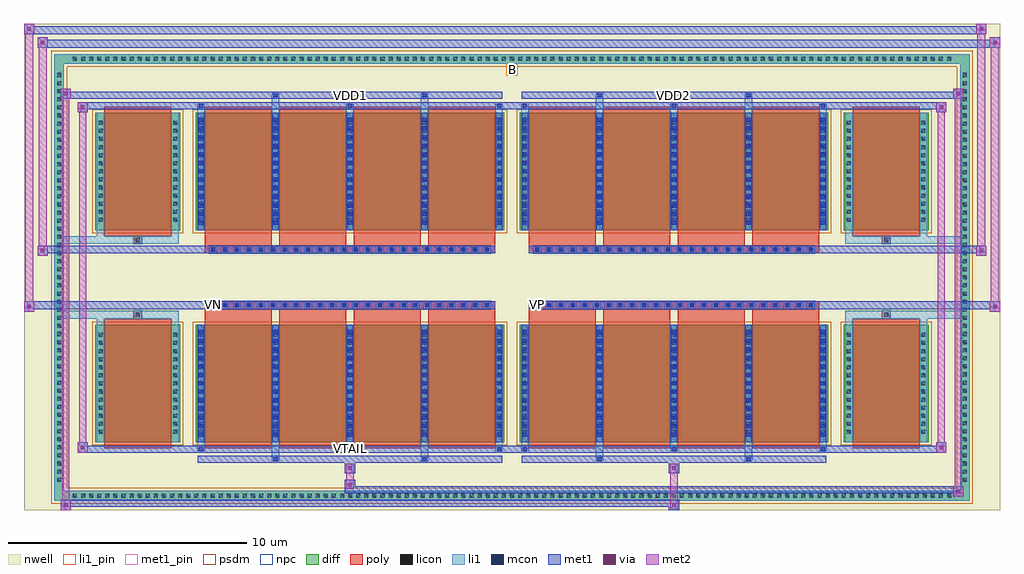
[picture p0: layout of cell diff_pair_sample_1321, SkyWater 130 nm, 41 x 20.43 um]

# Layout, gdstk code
import gdstk
lib = gdstk.Library(unit=1e-6, precision=5e-09)
def R(c, l, rs):  # rectangles x0, y0, x1, y1
    for r in rs: c.add(gdstk.rectangle(r[:2], r[2:], *l))
def A(c, l, x, y, w, h, nx, ny, dx, dy):  # array of equal rectangles
    R(c, l, [(x+i*dx, y+j*dy, x+i*dx+w, y+j*dy+h) for i in range(nx) for j in range(ny)])
def P(c, l, *ps):  # polygons
    for p in ps: c.add(gdstk.Polygon(p, *l))
nwell = (64, 20)
diff = (65, 20)
poly = (66, 20)
licon = (66, 44)
li1_pin = (67, 16)
li1 = (67, 20)
mcon = (67, 44)
met1_pin = (68, 16)
met1 = (68, 20)
via = (68, 44)
met2 = (69, 20)
psdm = (94, 20)
npc = (95, 20)

diff_pair_sample_1321 = lib.new_cell('diff_pair_sample_1321')
R(diff_pair_sample_1321, nwell, [(-20.5,-9.78,20.5,10.65), (-17.82,-7.97,-0.01,-0.805), (0.01,-7.97,17.82,-0.805), (-17.82,0.805,-0.01,7.97), (0.01,0.805,17.82,7.97)])
A(diff_pair_sample_1321, diff, -18.565, -9.38, 0.41, 0.41, 109, 2, 0.34, 18.35)
A(diff_pair_sample_1321, diff, -19.23, -8.705, 0.41, 0.41, 1, 51, 0, 0.34)
A(diff_pair_sample_1321, diff, 18.82, -8.705, 0.41, 0.41, 1, 51, 0, 0.34)
R(diff_pair_sample_1321, diff, [(-18.565,-9.38,18.565,-8.97), (-19.23,-8.705,-18.82,8.705), (18.82,-8.705,19.23,8.705), (-17.51,-6.925,-13.93,-1.985), (-13.29,-6.925,-0.32,-1.985), (0.32,-6.925,13.29,-1.985), (13.93,-6.925,17.51,-1.985), (-17.51,1.985,-13.93,6.925), (-13.29,1.985,-0.32,6.925), (0.32,1.985,13.29,6.925), (13.93,1.985,17.51,6.925), (-18.565,8.97,18.565,9.38)])
P(diff_pair_sample_1321, diff, [(19.23,9.38),(-19.23,9.38),(-19.23,-8.97),(-18.82,-8.97),(-18.82,8.97),(18.82,8.97),(18.82,-8.97),(-18.82,-8.97),(-19.23,-8.97),(-19.23,-9.38),(19.23,-9.38)])
A(diff_pair_sample_1321, poly, -12.9, -7.175, 2.8, 5.44, 4, 2, 3.13, 8.91)
A(diff_pair_sample_1321, poly, 0.71, -7.175, 2.8, 5.44, 4, 2, 3.13, 8.91)
A(diff_pair_sample_1321, poly, -12.9, -1.735, 2.8, 0.4, 4, 2, 3.13, 3.07)
A(diff_pair_sample_1321, poly, 0.71, -1.735, 2.8, 0.4, 4, 2, 3.13, 3.07)
A(diff_pair_sample_1321, poly, -12.72, -1.335, 0.33, 0.33, 24, 2, 0.5, 2.34)
A(diff_pair_sample_1321, poly, 0.89, -1.335, 0.33, 0.33, 24, 2, 0.5, 2.34)
R(diff_pair_sample_1321, poly, [(-17.12,-7.175,-14.32,-1.735), (14.32,-7.175,17.12,-1.735), (-15.885,-1.735,-15.555,-1.405), (-15.885,-1.735,-15.555,-1.405), (15.555,-1.735,15.885,-1.405), (15.555,-1.735,15.885,-1.405), (-12.9,-1.335,-0.71,-1.005), (0.71,-1.335,12.9,-1.005), (-12.9,1.005,-0.71,1.335), (0.71,1.005,12.9,1.335), (-15.885,1.405,-15.555,1.735), (-15.885,1.405,-15.555,1.735), (15.555,1.405,15.885,1.735), (15.555,1.405,15.885,1.735), (-17.12,1.735,-14.32,7.175), (14.32,1.735,17.12,7.175)])
A(diff_pair_sample_1321, licon, -18.445, -9.26, 0.17, 0.17, 109, 2, 0.34, 18.35)
A(diff_pair_sample_1321, licon, -19.11, -8.585, 0.17, 0.17, 1, 51, 0, 0.34)
A(diff_pair_sample_1321, licon, 18.94, -8.585, 0.17, 0.17, 1, 51, 0, 0.34)
A(diff_pair_sample_1321, licon, -17.37, -6.58, 0.17, 0.17, 1, 13, 0, 0.34)
A(diff_pair_sample_1321, licon, -14.24, -6.58, 0.17, 0.17, 1, 13, 0, 0.34)
A(diff_pair_sample_1321, licon, -13.15, -6.58, 0.17, 0.17, 5, 13, 3.13, 0.34)
A(diff_pair_sample_1321, licon, 0.46, -6.58, 0.17, 0.17, 5, 13, 3.13, 0.34)
A(diff_pair_sample_1321, licon, 14.07, -6.58, 0.17, 0.17, 1, 13, 0, 0.34)
A(diff_pair_sample_1321, licon, 17.2, -6.58, 0.17, 0.17, 1, 13, 0, 0.34)
A(diff_pair_sample_1321, licon, -12.64, -1.255, 0.17, 0.17, 24, 2, 0.5, 2.34)
A(diff_pair_sample_1321, licon, 0.97, -1.255, 0.17, 0.17, 24, 2, 0.5, 2.34)
A(diff_pair_sample_1321, licon, -17.37, 2.33, 0.17, 0.17, 1, 13, 0, 0.34)
A(diff_pair_sample_1321, licon, -14.24, 2.33, 0.17, 0.17, 1, 13, 0, 0.34)
A(diff_pair_sample_1321, licon, -13.15, 2.33, 0.17, 0.17, 5, 13, 3.13, 0.34)
A(diff_pair_sample_1321, licon, 0.46, 2.33, 0.17, 0.17, 5, 13, 3.13, 0.34)
A(diff_pair_sample_1321, licon, 14.07, 2.33, 0.17, 0.17, 1, 13, 0, 0.34)
A(diff_pair_sample_1321, licon, 17.2, 2.33, 0.17, 0.17, 1, 13, 0, 0.34)
R(diff_pair_sample_1321, licon, [(-15.805,-1.655,-15.635,-1.485), (15.635,-1.655,15.805,-1.485), (-15.805,1.485,-15.635,1.655), (15.635,1.485,15.805,1.655)])
R(diff_pair_sample_1321, li1_pin, [(-0.25,8.47,0.25,8.97)])
A(diff_pair_sample_1321, li1, -18.525, -9.34, 0.33, 0.33, 109, 2, 0.34, 18.35)
A(diff_pair_sample_1321, li1, -19.19, -8.665, 0.33, 0.33, 1, 51, 0, 0.34)
A(diff_pair_sample_1321, li1, 18.86, -8.665, 0.33, 0.33, 1, 51, 0, 0.34)
A(diff_pair_sample_1321, li1, -13.23, -7.3, 0.33, 0.375, 3, 2, 6.26, 14.225)
A(diff_pair_sample_1321, li1, -13.15, -7.3, 0.17, 0.17, 3, 2, 6.26, 14.43)
A(diff_pair_sample_1321, li1, 0.38, -7.3, 0.33, 0.375, 3, 2, 6.26, 14.225)
A(diff_pair_sample_1321, li1, 0.46, -7.3, 0.17, 0.17, 3, 2, 6.26, 14.43)
A(diff_pair_sample_1321, li1, -13.23, -6.925, 0.33, 4.94, 5, 2, 3.13, 8.91)
A(diff_pair_sample_1321, li1, 0.38, -6.925, 0.33, 4.94, 5, 2, 3.13, 8.91)
A(diff_pair_sample_1321, li1, -13.15, -6.7, 0.17, 0.17, 5, 13, 3.13, 0.36)
A(diff_pair_sample_1321, li1, -13.15, -6.7, 0.17, 4.49, 5, 2, 3.13, 8.91)
A(diff_pair_sample_1321, li1, 0.46, -6.7, 0.17, 0.17, 5, 13, 3.13, 0.36)
A(diff_pair_sample_1321, li1, 0.46, -6.7, 0.17, 4.49, 5, 2, 3.13, 8.91)
A(diff_pair_sample_1321, li1, -17.45, -6.66, 0.33, 0.33, 1, 13, 0, 0.34)
A(diff_pair_sample_1321, li1, -14.32, -6.66, 0.33, 0.33, 1, 13, 0, 0.34)
A(diff_pair_sample_1321, li1, -13.23, -6.66, 0.33, 0.33, 5, 13, 3.13, 0.34)
A(diff_pair_sample_1321, li1, 0.38, -6.66, 0.33, 0.33, 5, 13, 3.13, 0.34)
A(diff_pair_sample_1321, li1, 13.99, -6.66, 0.33, 0.33, 1, 13, 0, 0.34)
A(diff_pair_sample_1321, li1, 17.12, -6.66, 0.33, 0.33, 1, 13, 0, 0.34)
A(diff_pair_sample_1321, li1, -12.72, -1.335, 0.33, 0.33, 24, 2, 0.5, 2.34)
A(diff_pair_sample_1321, li1, 0.89, -1.335, 0.33, 0.33, 24, 2, 0.5, 2.34)
A(diff_pair_sample_1321, li1, -13.15, 2.21, 0.17, 0.17, 5, 13, 3.13, 0.36)
A(diff_pair_sample_1321, li1, 0.46, 2.21, 0.17, 0.17, 5, 13, 3.13, 0.36)
A(diff_pair_sample_1321, li1, -17.45, 2.25, 0.33, 0.33, 1, 13, 0, 0.34)
A(diff_pair_sample_1321, li1, -14.32, 2.25, 0.33, 0.33, 1, 13, 0, 0.34)
A(diff_pair_sample_1321, li1, -13.23, 2.25, 0.33, 0.33, 5, 13, 3.13, 0.34)
A(diff_pair_sample_1321, li1, 0.38, 2.25, 0.33, 0.33, 5, 13, 3.13, 0.34)
A(diff_pair_sample_1321, li1, 13.99, 2.25, 0.33, 0.33, 1, 13, 0, 0.34)
A(diff_pair_sample_1321, li1, 17.12, 2.25, 0.33, 0.33, 1, 13, 0, 0.34)
R(diff_pair_sample_1321, li1, [(-19.23,-9.38,-18.82,-8.97), (-19.23,-9.38,-18.82,-8.97), (-18.82,-9.38,18.82,-8.97), (18.82,-9.38,19.23,-8.97), (18.82,-9.38,19.23,-8.97), (-19.23,-8.97,-18.82,8.97), (18.82,-8.97,19.23,8.97), (-10.1,-7.73,-9.77,-6.925), (-10.02,-7.73,-9.85,-7.56), (-3.84,-7.73,-3.51,-6.925), (-3.76,-7.73,-3.59,-7.56), (3.51,-7.73,3.84,-6.925), (3.59,-7.73,3.76,-7.56), (9.77,-7.73,10.1,-6.925), (9.85,-7.73,10.02,-7.56), (-17.45,-6.925,-17.12,-1.985), (-14.32,-6.925,-13.99,-1.985), (13.99,-6.925,14.32,-1.985), (17.12,-6.925,17.45,-1.985), (-17.45,-1.985,-17.12,-1.405), (-14.32,-1.985,-13.99,-1.405), (13.99,-1.985,14.32,-1.405), (17.12,-1.985,17.45,-1.405), (-19.23,-1.735,-15.885,-1.405), (-17.45,-1.735,-15.885,-1.405), (-15.885,-1.735,-15.555,-1.405), (-15.555,-1.735,-13.99,-1.405), (13.99,-1.735,15.555,-1.405), (15.555,-1.735,15.885,-1.405), (15.555,-1.735,19.23,-1.405), (15.885,-1.735,17.45,-1.405), (-19.23,1.405,-15.885,1.735), (-17.45,1.405,-15.885,1.735), (-17.45,1.405,-17.12,1.985), (-15.885,1.405,-15.555,1.735), (-15.555,1.405,-13.99,1.735), (-14.32,1.405,-13.99,1.985), (13.99,1.405,15.555,1.735), (13.99,1.405,14.32,1.985), (15.555,1.405,15.885,1.735), (15.555,1.405,19.23,1.735), (15.885,1.405,17.45,1.735), (17.12,1.405,17.45,1.985), (-17.45,1.985,-17.12,6.925), (-14.32,1.985,-13.99,6.925), (13.99,1.985,14.32,6.925), (17.12,1.985,17.45,6.925), (-10.1,6.925,-9.77,7.73), (-3.84,6.925,-3.51,7.73), (3.51,6.925,3.84,7.73), (9.77,6.925,10.1,7.73), (-10.02,7.56,-9.85,7.73), (-3.76,7.56,-3.59,7.73), (3.59,7.56,3.76,7.73), (9.85,7.56,10.02,7.73), (-19.23,8.97,-18.82,9.38), (-19.23,8.97,-18.82,9.38), (-18.82,8.97,18.82,9.38), (18.82,8.97,19.23,9.38), (18.82,8.97,19.23,9.38)])
A(diff_pair_sample_1321, mcon, -13.15, -7.3, 0.17, 0.17, 3, 2, 6.26, 14.43)
A(diff_pair_sample_1321, mcon, 0.46, -7.3, 0.17, 0.17, 3, 2, 6.26, 14.43)
A(diff_pair_sample_1321, mcon, -13.15, -6.7, 0.17, 0.17, 5, 13, 3.13, 0.36)
A(diff_pair_sample_1321, mcon, 0.46, -6.7, 0.17, 0.17, 5, 13, 3.13, 0.36)
A(diff_pair_sample_1321, mcon, -12.64, -1.255, 0.17, 0.17, 24, 2, 0.5, 2.34)
A(diff_pair_sample_1321, mcon, 0.97, -1.255, 0.17, 0.17, 24, 2, 0.5, 2.34)
A(diff_pair_sample_1321, mcon, -13.15, 2.21, 0.17, 0.17, 5, 13, 3.13, 0.36)
A(diff_pair_sample_1321, mcon, 0.46, 2.21, 0.17, 0.17, 5, 13, 3.13, 0.36)
R(diff_pair_sample_1321, mcon, [(-10.02,-7.73,-9.85,-7.56), (-3.76,-7.73,-3.59,-7.56), (3.59,-7.73,3.76,-7.56), (9.85,-7.73,10.02,-7.56), (-10.02,7.56,-9.85,7.73), (-3.76,7.56,-3.59,7.73), (3.59,7.56,3.76,7.73), (9.85,7.56,10.02,7.73)])
R(diff_pair_sample_1321, met1_pin, [(-6.94,-7.34,-6.67,-7.07), (-12.69,-1.295,-12.42,-1.025), (0.92,-1.295,1.19,-1.025), (-6.94,7.52,-6.67,7.79), (6.67,7.52,6.94,7.79)])
A(diff_pair_sample_1321, met1, -13.21, -7.36, 0.29, 0.29, 3, 2, 6.26, 14.43)
A(diff_pair_sample_1321, met1, 0.4, -7.36, 0.29, 0.29, 3, 2, 6.26, 14.43)
A(diff_pair_sample_1321, met1, -13.21, -6.925, 0.29, 4.94, 5, 2, 3.13, 8.91)
A(diff_pair_sample_1321, met1, 0.4, -6.925, 0.29, 4.94, 5, 2, 3.13, 8.91)
A(diff_pair_sample_1321, met1, -13.21, -6.76, 0.29, 0.29, 5, 13, 3.13, 0.36)
A(diff_pair_sample_1321, met1, 0.4, -6.76, 0.29, 0.29, 5, 13, 3.13, 0.36)
A(diff_pair_sample_1321, met1, -12.7, -1.315, 0.29, 0.29, 24, 2, 0.5, 2.34)
A(diff_pair_sample_1321, met1, 0.91, -1.315, 0.29, 0.29, 24, 2, 0.5, 2.34)
A(diff_pair_sample_1321, met1, -13.21, 2.15, 0.29, 0.29, 5, 13, 3.13, 0.36)
A(diff_pair_sample_1321, met1, 0.4, 2.15, 0.29, 0.29, 5, 13, 3.13, 0.36)
R(diff_pair_sample_1321, met1, [(-18.96,-9.78,-18.53,-9.35), (6.59,-9.78,7.02,-9.35), (-18.96,-9.64,7.02,-9.35), (18.53,-9.21,18.96,-8.78), (-7.02,-9.07,18.96,-8.78), (-7.02,-8.93,-6.59,-8.5), (-7.02,-8.22,-6.59,-7.79), (6.59,-8.22,7.02,-7.79), (-13.21,-7.79,-0.4,-7.5), (-10.08,-7.79,-9.79,-7.5), (-3.82,-7.79,-3.53,-7.5), (0.4,-7.79,13.21,-7.5), (3.53,-7.79,3.82,-7.5), (9.79,-7.79,10.08,-7.5), (-18.25,-7.36,-17.82,-6.93), (-18.25,-7.36,-13.21,-7.07), (-13.21,-7.36,-0.4,-7.07), (-0.4,-7.36,0.4,-7.07), (0.4,-7.36,13.21,-7.07), (13.21,-7.36,18.25,-7.07), (17.82,-7.36,18.25,-6.93), (-20.5,-1.435,-20.07,-1.005), (20.07,-1.435,20.5,-1.005), (-20.5,-1.335,-0.71,-1.005), (-12.9,-1.335,-0.71,-1.005), (0.71,-1.335,12.9,-1.005), (0.71,-1.335,20.5,-1.005), (-19.93,0.905,-19.5,1.335), (19.5,0.905,19.93,1.335), (-19.93,1.005,-12.9,1.335), (-12.9,1.005,-0.71,1.335), (0.71,1.005,12.9,1.335), (12.9,1.005,19.93,1.335), (-18.25,6.93,-17.82,7.36), (17.82,6.93,18.25,7.36), (-18.25,7.07,-13.21,7.36), (-13.21,7.07,-0.4,7.36), (-0.4,7.07,0.4,7.36), (0.4,7.07,13.21,7.36), (13.21,7.07,18.25,7.36), (-18.96,7.5,-18.53,7.93), (-18.96,7.5,-13.21,7.79), (-13.21,7.5,-0.4,7.79), (-10.08,7.5,-9.79,7.79), (-3.82,7.5,-3.53,7.79), (0.4,7.5,13.21,7.79), (3.53,7.5,3.82,7.79), (9.79,7.5,10.08,7.79), (13.21,7.5,18.96,7.79), (18.53,7.5,18.96,7.93), (-19.93,9.65,-19.5,10.08), (-19.93,9.65,-17.82,9.98), (-17.82,9.65,17.82,9.98), (17.82,9.65,20.5,9.98), (20.07,9.65,20.5,10.08), (-20.5,10.22,-20.07,10.65), (-20.5,10.22,-17.82,10.55), (-17.82,10.22,17.82,10.55), (17.82,10.22,19.93,10.55), (19.5,10.22,19.93,10.65)])
R(diff_pair_sample_1321, via, [(-18.82,-9.64,-18.67,-9.49), (6.73,-9.64,6.88,-9.49), (18.67,-9.07,18.82,-8.92), (-6.88,-8.79,-6.73,-8.64), (-6.88,-8.08,-6.73,-7.93), (6.73,-8.08,6.88,-7.93), (-18.11,-7.22,-17.96,-7.07), (17.96,-7.22,18.11,-7.07), (-20.36,-1.295,-20.21,-1.145), (20.21,-1.295,20.36,-1.145), (-19.79,1.045,-19.64,1.195), (19.64,1.045,19.79,1.195), (-18.11,7.07,-17.96,7.22), (17.96,7.07,18.11,7.22), (-18.82,7.64,-18.67,7.79), (18.67,7.64,18.82,7.79), (-19.79,9.79,-19.64,9.94), (20.21,9.79,20.36,9.94), (-20.36,10.36,-20.21,10.51), (19.64,10.36,19.79,10.51)])
R(diff_pair_sample_1321, met2, [(-18.96,-9.78,-18.53,-9.35), (-18.89,-9.78,-18.6,7.93), (-18.6,-9.78,-18.53,-9.35), (-18.91,-9.73,-18.58,-9.4), (6.64,-9.73,6.97,-9.4), (6.64,-9.4,6.97,-8.17), (18.53,-9.21,18.96,-8.78), (18.6,-9.21,18.89,7.93), (18.89,-9.21,18.96,-8.78), (18.58,-9.16,18.91,-8.83), (-6.97,-8.88,-6.64,-8.55), (-6.97,-8.55,-6.64,-8.17), (-6.97,-8.17,-6.64,-7.84), (6.64,-8.17,6.97,-7.84), (-18.25,-7.36,-17.82,-6.93), (-18.18,-7.36,-17.89,7.36), (-17.89,-7.36,-17.82,-6.93), (17.82,-7.36,18.25,-6.93), (17.89,-7.36,18.18,7.36), (18.18,-7.36,18.25,-6.93), (-18.2,-7.31,-17.87,-6.98), (17.87,-7.31,18.2,-6.98), (-20.5,-1.435,-20.07,-1.005), (-20.45,-1.435,-20.12,10.65), (-20.12,-1.435,-20.07,-1.005), (20.07,-1.435,20.5,-1.005), (20.12,-1.435,20.45,10.08), (20.45,-1.435,20.5,-1.005), (-20.45,-1.385,-20.12,-1.055), (20.12,-1.385,20.45,-1.055), (-19.93,0.905,-19.5,1.335), (-19.88,0.905,-19.55,10.08), (-19.55,0.905,-19.5,1.335), (19.5,0.905,19.93,1.335), (19.55,0.905,19.88,10.65), (19.88,0.905,19.93,1.335), (-19.88,0.955,-19.55,1.285), (19.55,0.955,19.88,1.285), (-18.25,6.93,-17.82,7.36), (-17.89,6.93,-17.82,7.36), (17.82,6.93,18.25,7.36), (18.18,6.93,18.25,7.36), (-18.2,6.98,-17.87,7.31), (17.87,6.98,18.2,7.31), (-18.96,7.5,-18.53,7.93), (-18.6,7.5,-18.53,7.93), (18.53,7.5,18.96,7.93), (18.89,7.5,18.96,7.93), (-18.91,7.55,-18.58,7.88), (18.58,7.55,18.91,7.88), (-19.93,9.65,-19.5,10.08), (-19.55,9.65,-19.5,10.08), (20.07,9.65,20.5,10.08), (20.45,9.65,20.5,10.08), (-19.88,9.7,-19.55,10.03), (20.12,9.7,20.45,10.03), (-20.5,10.22,-20.07,10.65), (-20.12,10.22,-20.07,10.65), (19.5,10.22,19.93,10.65), (19.88,10.22,19.93,10.65), (-20.45,10.27,-20.12,10.6), (19.55,10.27,19.88,10.6)])
R(diff_pair_sample_1321, psdm, [(-17.64,-7.055,-13.8,-1.855), (-13.42,-7.055,-0.19,-1.855), (0.19,-7.055,13.42,-1.855), (13.8,-7.055,17.64,-1.855), (-17.64,1.855,-13.8,7.055), (-13.42,1.855,-0.19,7.055), (0.19,1.855,13.42,7.055), (13.8,1.855,17.64,7.055)])
P(diff_pair_sample_1321, psdm, [(19.36,9.51),(-19.36,9.51),(-19.36,-8.84),(-18.69,-8.84),(-18.69,8.84),(18.69,8.84),(18.69,-8.84),(-18.69,-8.84),(-19.36,-8.84),(-19.36,-9.51),(19.36,-9.51)])
A(diff_pair_sample_1321, npc, -12.74, -1.355, 0.37, 0.37, 24, 2, 0.5, 2.34)
A(diff_pair_sample_1321, npc, 0.87, -1.355, 0.37, 0.37, 24, 2, 0.5, 2.34)
R(diff_pair_sample_1321, npc, [(-15.905,-1.755,-15.535,-1.385), (15.535,-1.755,15.905,-1.385), (-12.74,-1.355,-11.87,-0.985), (-12.74,-1.355,-11.87,-0.985), (-12.24,-1.355,-11.37,-0.985), (-12.24,-1.355,-11.37,-0.985), (-11.74,-1.355,-10.87,-0.985), (-11.74,-1.355,-10.87,-0.985), (-11.24,-1.355,-10.37,-0.985), (-11.24,-1.355,-10.37,-0.985), (-10.74,-1.355,-9.87,-0.985), (-10.74,-1.355,-9.87,-0.985), (-10.24,-1.355,-9.37,-0.985), (-10.24,-1.355,-9.37,-0.985), (-9.74,-1.355,-8.87,-0.985), (-9.74,-1.355,-8.87,-0.985), (-9.24,-1.355,-8.37,-0.985), (-9.24,-1.355,-8.37,-0.985), (-8.74,-1.355,-7.87,-0.985), (-8.74,-1.355,-7.87,-0.985), (-8.24,-1.355,-7.37,-0.985), (-8.24,-1.355,-7.37,-0.985), (-7.74,-1.355,-6.87,-0.985), (-7.74,-1.355,-6.87,-0.985), (-7.24,-1.355,-6.37,-0.985), (-7.24,-1.355,-6.37,-0.985), (-6.74,-1.355,-5.87,-0.985), (-6.74,-1.355,-5.87,-0.985), (-6.24,-1.355,-5.37,-0.985), (-6.24,-1.355,-5.37,-0.985), (-5.74,-1.355,-4.87,-0.985), (-5.74,-1.355,-4.87,-0.985), (-5.24,-1.355,-4.37,-0.985), (-5.24,-1.355,-4.37,-0.985), (-4.74,-1.355,-3.87,-0.985), (-4.74,-1.355,-3.87,-0.985), (-4.24,-1.355,-3.37,-0.985), (-4.24,-1.355,-3.37,-0.985), (-3.74,-1.355,-2.87,-0.985), (-3.74,-1.355,-2.87,-0.985), (-3.24,-1.355,-2.37,-0.985), (-3.24,-1.355,-2.37,-0.985), (-2.74,-1.355,-1.87,-0.985), (-2.74,-1.355,-1.87,-0.985), (-2.24,-1.355,-1.37,-0.985), (-2.24,-1.355,-1.37,-0.985), (-1.74,-1.355,-0.87,-0.985), (-1.74,-1.355,-0.87,-0.985), (0.87,-1.355,1.74,-0.985), (0.87,-1.355,1.74,-0.985), (1.37,-1.355,2.24,-0.985), (1.37,-1.355,2.24,-0.985), (1.87,-1.355,2.74,-0.985), (1.87,-1.355,2.74,-0.985), (2.37,-1.355,3.24,-0.985), (2.37,-1.355,3.24,-0.985), (2.87,-1.355,3.74,-0.985), (2.87,-1.355,3.74,-0.985), (3.37,-1.355,4.24,-0.985), (3.37,-1.355,4.24,-0.985), (3.87,-1.355,4.74,-0.985), (3.87,-1.355,4.74,-0.985), (4.37,-1.355,5.24,-0.985), (4.37,-1.355,5.24,-0.985), (4.87,-1.355,5.74,-0.985), (4.87,-1.355,5.74,-0.985), (5.37,-1.355,6.24,-0.985), (5.37,-1.355,6.24,-0.985), (5.87,-1.355,6.74,-0.985), (5.87,-1.355,6.74,-0.985), (6.37,-1.355,7.24,-0.985), (6.37,-1.355,7.24,-0.985), (6.87,-1.355,7.74,-0.985), (6.87,-1.355,7.74,-0.985), (7.37,-1.355,8.24,-0.985), (7.37,-1.355,8.24,-0.985), (7.87,-1.355,8.74,-0.985), (7.87,-1.355,8.74,-0.985), (8.37,-1.355,9.24,-0.985), (8.37,-1.355,9.24,-0.985), (8.87,-1.355,9.74,-0.985), (8.87,-1.355,9.74,-0.985), (9.37,-1.355,10.24,-0.985), (9.37,-1.355,10.24,-0.985), (9.87,-1.355,10.74,-0.985), (9.87,-1.355,10.74,-0.985), (10.37,-1.355,11.24,-0.985), (10.37,-1.355,11.24,-0.985), (10.87,-1.355,11.74,-0.985), (10.87,-1.355,11.74,-0.985), (11.37,-1.355,12.24,-0.985), (11.37,-1.355,12.24,-0.985), (11.87,-1.355,12.74,-0.985), (11.87,-1.355,12.74,-0.985), (-12.74,0.985,-11.87,1.355), (-12.74,0.985,-11.87,1.355), (-12.24,0.985,-11.37,1.355), (-12.24,0.985,-11.37,1.355), (-11.74,0.985,-10.87,1.355), (-11.74,0.985,-10.87,1.355), (-11.24,0.985,-10.37,1.355), (-11.24,0.985,-10.37,1.355), (-10.74,0.985,-9.87,1.355), (-10.74,0.985,-9.87,1.355), (-10.24,0.985,-9.37,1.355), (-10.24,0.985,-9.37,1.355), (-9.74,0.985,-8.87,1.355), (-9.74,0.985,-8.87,1.355), (-9.24,0.985,-8.37,1.355), (-9.24,0.985,-8.37,1.355), (-8.74,0.985,-7.87,1.355), (-8.74,0.985,-7.87,1.355), (-8.24,0.985,-7.37,1.355), (-8.24,0.985,-7.37,1.355), (-7.74,0.985,-6.87,1.355), (-7.74,0.985,-6.87,1.355), (-7.24,0.985,-6.37,1.355), (-7.24,0.985,-6.37,1.355), (-6.74,0.985,-5.87,1.355), (-6.74,0.985,-5.87,1.355), (-6.24,0.985,-5.37,1.355), (-6.24,0.985,-5.37,1.355), (-5.74,0.985,-4.87,1.355), (-5.74,0.985,-4.87,1.355), (-5.24,0.985,-4.37,1.355), (-5.24,0.985,-4.37,1.355), (-4.74,0.985,-3.87,1.355), (-4.74,0.985,-3.87,1.355), (-4.24,0.985,-3.37,1.355), (-4.24,0.985,-3.37,1.355), (-3.74,0.985,-2.87,1.355), (-3.74,0.985,-2.87,1.355), (-3.24,0.985,-2.37,1.355), (-3.24,0.985,-2.37,1.355), (-2.74,0.985,-1.87,1.355), (-2.74,0.985,-1.87,1.355), (-2.24,0.985,-1.37,1.355), (-2.24,0.985,-1.37,1.355), (-1.74,0.985,-0.87,1.355), (-1.74,0.985,-0.87,1.355), (0.87,0.985,1.74,1.355), (0.87,0.985,1.74,1.355), (1.37,0.985,2.24,1.355), (1.37,0.985,2.24,1.355), (1.87,0.985,2.74,1.355), (1.87,0.985,2.74,1.355), (2.37,0.985,3.24,1.355), (2.37,0.985,3.24,1.355), (2.87,0.985,3.74,1.355), (2.87,0.985,3.74,1.355), (3.37,0.985,4.24,1.355), (3.37,0.985,4.24,1.355), (3.87,0.985,4.74,1.355), (3.87,0.985,4.74,1.355), (4.37,0.985,5.24,1.355), (4.37,0.985,5.24,1.355), (4.87,0.985,5.74,1.355), (4.87,0.985,5.74,1.355), (5.37,0.985,6.24,1.355), (5.37,0.985,6.24,1.355), (5.87,0.985,6.74,1.355), (5.87,0.985,6.74,1.355), (6.37,0.985,7.24,1.355), (6.37,0.985,7.24,1.355), (6.87,0.985,7.74,1.355), (6.87,0.985,7.74,1.355), (7.37,0.985,8.24,1.355), (7.37,0.985,8.24,1.355), (7.87,0.985,8.74,1.355), (7.87,0.985,8.74,1.355), (8.37,0.985,9.24,1.355), (8.37,0.985,9.24,1.355), (8.87,0.985,9.74,1.355), (8.87,0.985,9.74,1.355), (9.37,0.985,10.24,1.355), (9.37,0.985,10.24,1.355), (9.87,0.985,10.74,1.355), (9.87,0.985,10.74,1.355), (10.37,0.985,11.24,1.355), (10.37,0.985,11.24,1.355), (10.87,0.985,11.74,1.355), (10.87,0.985,11.74,1.355), (11.37,0.985,12.24,1.355), (11.37,0.985,12.24,1.355), (11.87,0.985,12.74,1.355), (11.87,0.985,12.74,1.355), (-15.905,1.385,-15.535,1.755), (15.535,1.385,15.905,1.755)])
diff_pair_sample_1321.add(gdstk.Label('VTAIL', (-6.805,-7.205), layer=68, texttype=5))
diff_pair_sample_1321.add(gdstk.Label('VN', (-12.555,-1.16), layer=68, texttype=5))
diff_pair_sample_1321.add(gdstk.Label('VP', (1.055,-1.16), layer=68, texttype=5))
diff_pair_sample_1321.add(gdstk.Label('B', (0,8.72), layer=67, texttype=5))
diff_pair_sample_1321.add(gdstk.Label('VDD2', (6.805,7.655), layer=68, texttype=5))
diff_pair_sample_1321.add(gdstk.Label('VDD1', (-6.805,7.655), layer=68, texttype=5))

lib.write_gds('diff_pair_sample_1321.gds')
